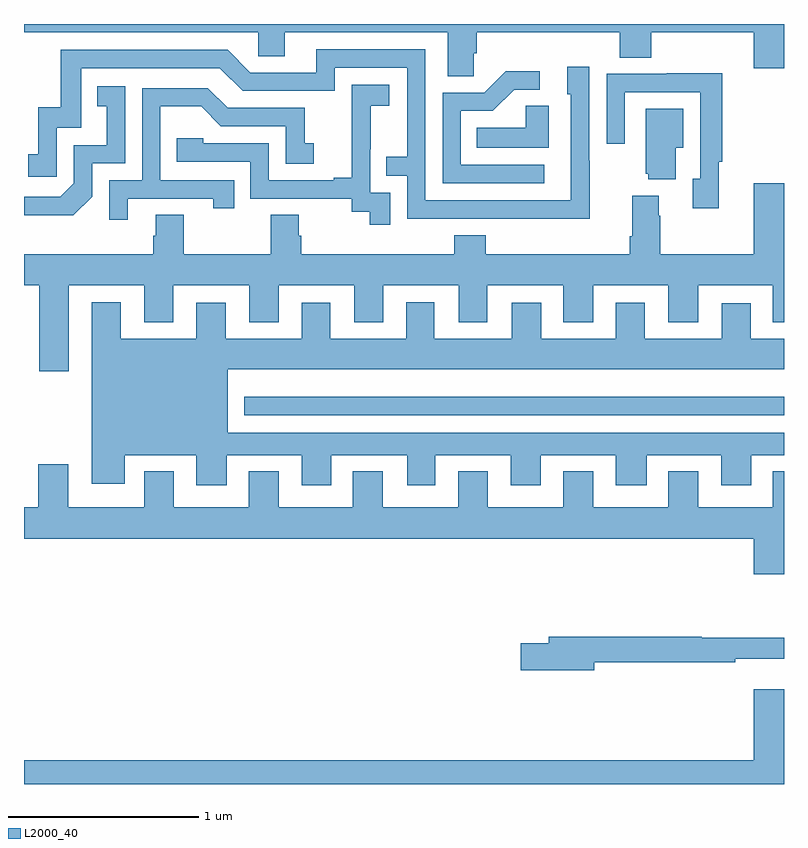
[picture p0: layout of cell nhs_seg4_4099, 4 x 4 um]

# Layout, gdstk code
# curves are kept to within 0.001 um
import gdstk
lib = gdstk.Library(unit=1e-6, precision=1e-09)
def R(c, l, rs):  # rectangles x0, y0, x1, y1
    for r in rs: c.add(gdstk.rectangle(r[:2], r[2:], *l))
def P(c, l, *ps):  # polygons
    for p in ps: c.add(gdstk.Polygon(p, *l))
L2000_40 = (2000, 40)

nhs_seg4_4099 = lib.new_cell('nhs_seg4_4099')
R(nhs_seg4_4099, L2000_40, [(330.158,758.841,333,758.938)])
P(nhs_seg4_4099, L2000_40, [(331.368,760.747),(331.382,760.747),(331.382,760.856),(332.135,760.856),(332.135,760.723),(332.3,760.723),(332.3,760.856),(332.84,760.856),(332.84,760.668),(333,760.668),(333,760.9),(329,760.9),(329,760.856),(330.234,760.856),(330.234,760.729),(330.373,760.729),(330.373,760.856),(331.229,760.856),(331.229,760.624),(331.368,760.624)],
  [(331.977,760.181),(331.974,760.181),(331.974,760.675),(331.859,760.675),(331.859,760.53),(331.878,760.53),(331.878,759.972),(331.113,759.972),(331.113,760.767),(330.539,760.767),(330.539,760.644),(330.192,760.644),(330.072,760.764),(329.193,760.764),(329.193,760.462),(329.075,760.462),(329.075,760.215),(329.022,760.215),(329.022,760.095),(329.172,760.095),(329.172,760.353),(329.301,760.353),(329.301,760.668),(330.03,760.668),(330.15,760.548),(330.636,760.548),(330.636,760.671),(331.017,760.671),(331.017,760.202),(330.907,760.202),(330.907,760.101),(331.017,760.101),(331.017,759.876),(331.977,759.875)],
  [(331.738,760.158),(331.299,760.158),(331.299,760.443),(331.468,760.443),(331.579,760.554),(331.714,760.554),(331.714,760.652),(331.535,760.652),(331.422,760.539),(331.203,760.539),(331.203,760.062),(331.738,760.062)],
  [(332.657,760.174),(332.675,760.174),(332.675,760.64),(332.383,760.64),(332.383,760.638),(332.067,760.638),(332.067,760.269),(332.163,760.269),(332.163,760.542),(332.559,760.542),(332.559,760.086),(332.519,760.086),(332.519,759.93),(332.657,759.93)],
  [(330.927,760.011),(330.822,760.011),(330.822,760.241),(330.824,760.241),(330.824,760.469),(330.922,760.469),(330.922,760.579),(330.724,760.579),(330.724,760.373),(330.725,760.373),(330.725,760.09),(330.629,760.09),(330.629,760.077),(330.288,760.077),(330.288,760.272),(329.943,760.272),(329.943,760.299),(329.803,760.299),(329.803,760.176),(330.192,760.176),(330.192,759.981),(330.726,759.981),(330.726,759.913),(330.819,759.913),(330.819,759.843),(330.927,759.843)],
  [(329.358,759.99),(329.358,760.167),(329.532,760.167),(329.532,760.573),(329.386,760.573),(329.386,760.467),(329.435,760.467),(329.435,760.263),(329.262,760.263),(329.262,760.062),(329.19,759.99),(329,759.99),(329,759.893),(329.26,759.893)],
  [(329.545,759.981),(329.996,759.981),(329.996,759.93),(330.107,759.93),(330.107,760.077),(329.718,760.077),(329.718,760.466),(329.932,760.466),(330.036,760.362),(330.378,760.362),(330.378,760.164),(330.526,760.164),(330.526,760.273),(330.477,760.273),(330.477,760.458),(330.073,760.458),(329.968,760.563),(329.622,760.563),(329.622,760.077),(329.448,760.077),(329.448,759.87),(329.545,759.87)],
  [(331.762,760.469),(331.641,760.469),(331.641,760.354),(331.384,760.354),(331.384,760.25),(331.762,760.25)],
  [(332.431,760.25),(332.47,760.25),(332.47,760.453),(332.273,760.453),(332.273,760.113),(332.285,760.113),(332.285,760.082),(332.431,760.082)],
  [(329.236,759.524),(329.633,759.524),(329.633,759.33),(329.785,759.33),(329.785,759.524),(330.185,759.524),(330.185,759.33),(330.34,759.33),(330.34,759.524),(330.737,759.524),(330.737,759.33),(330.892,759.33),(330.892,759.524),(331.289,759.524),(331.289,759.33),(331.438,759.33),(331.438,759.524),(331.838,759.524),(331.838,759.33),(331.996,759.33),(331.996,759.524),(332.39,759.524),(332.39,759.33),(332.548,759.33),(332.548,759.524),(332.942,759.524),(332.942,759.33),(333,759.33),(333,760.063),(332.84,760.063),(332.84,759.688),(332.349,759.688),(332.349,759.89),(332.341,759.89),(332.341,759.997),(332.201,759.997),(332.201,759.784),(332.189,759.784),(332.189,759.688),(331.43,759.688),(331.43,759.787),(331.265,759.787),(331.265,759.688),(330.458,759.688),(330.458,759.786),(330.445,759.786),(330.445,759.896),(330.298,759.896),(330.298,759.688),(329.841,759.688),(329.841,759.896),(329.693,759.896),(329.693,759.786),(329.681,759.786),(329.681,759.688),(329,759.688),(329,759.524),(329.081,759.524),(329.081,759.072),(329.236,759.072)],
  [(330.067,758.63),(330.461,758.63),(330.461,758.472),(330.616,758.472),(330.616,758.63),(331.016,758.63),(331.016,758.472),(331.165,758.472),(331.165,758.63),(331.562,758.63),(331.562,758.472),(331.72,758.472),(331.72,758.63),(332.114,758.63),(332.114,758.472),(332.278,758.472),(332.278,758.63),(332.669,758.63),(332.669,758.472),(332.827,758.472),(332.827,758.63),(333,758.63),(333,758.749),(330.073,758.749),(330.073,759.083),(333,759.083),(333,759.244),(332.824,759.244),(332.824,759.43),(332.672,759.43),(332.672,759.244),(332.266,759.244),(332.266,759.433),(332.114,759.433),(332.114,759.244),(331.723,759.244),(331.723,759.433),(331.568,759.433),(331.568,759.244),(331.159,759.244),(331.159,759.436),(331.013,759.436),(331.013,759.244),(330.613,759.244),(330.613,759.433),(330.461,759.433),(330.461,759.244),(330.061,759.244),(330.061,759.433),(329.906,759.433),(329.906,759.244),(329.509,759.244),(329.509,759.436),(329.357,759.436),(329.357,758.48),(329.53,758.48),(329.53,758.63),(329.906,758.63),(329.906,758.472),(330.067,758.472)],
  [(333,758.545),(332.942,758.545),(332.942,758.356),(332.548,758.356),(332.548,758.545),(332.39,758.545),(332.39,758.356),(331.996,758.356),(331.996,758.545),(331.838,758.545),(331.838,758.356),(331.441,758.356),(331.441,758.545),(331.286,758.545),(331.286,758.356),(330.889,758.356),(330.889,758.545),(330.731,758.545),(330.731,758.356),(330.34,758.356),(330.34,758.545),(330.182,758.545),(330.182,758.356),(329.788,758.356),(329.788,758.545),(329.633,758.545),(329.633,758.356),(329.233,758.356),(329.233,758.584),(329.074,758.584),(329.074,758.356),(329,758.356),(329,758.192),(332.84,758.192),(332.84,758.004),(333,758.004)],
  [(332.002,757.54),(332.744,757.54),(332.744,757.559),(333,757.559),(333,757.669),(332.567,757.669),(332.567,757.676),(331.763,757.676),(331.763,757.64),(331.614,757.64),(331.614,757.498),(332.002,757.498)],
  [(333,757.399),(332.84,757.399),(332.84,757.024),(329,757.024),(329,756.9),(333,756.9)])

lib.write_gds('nhs_seg4_4099.gds')
